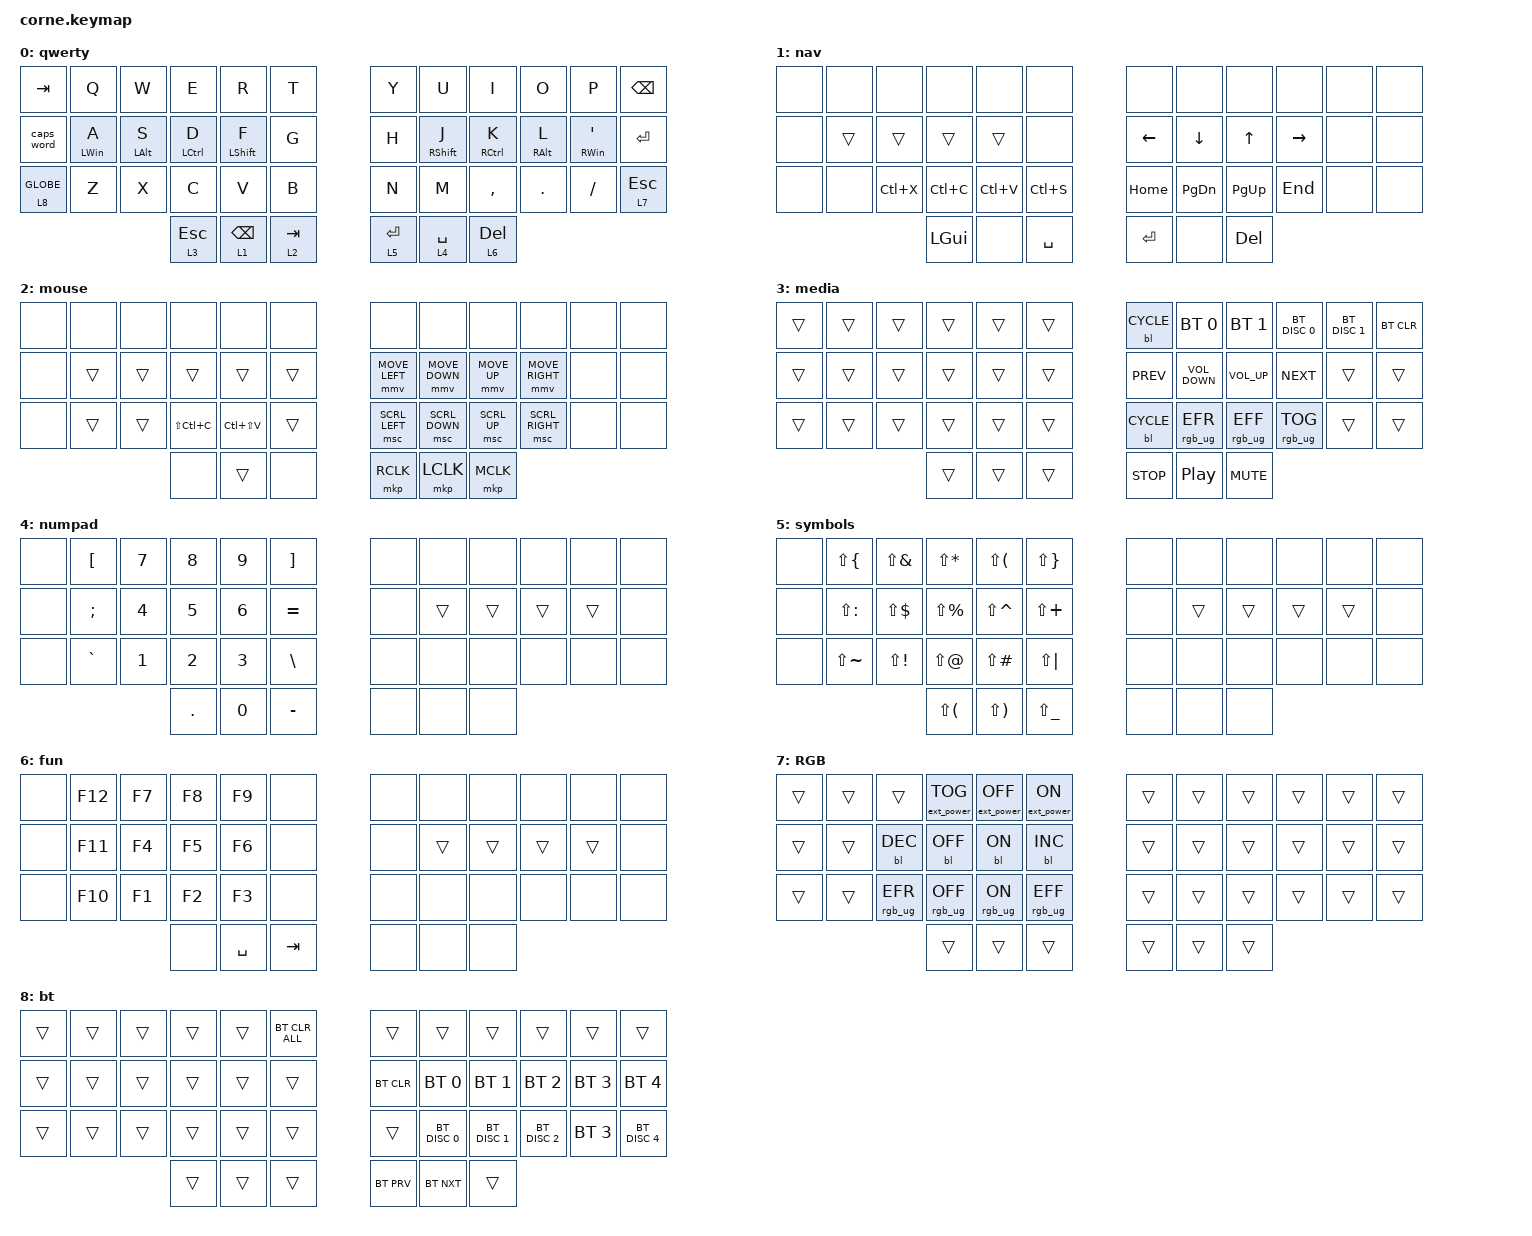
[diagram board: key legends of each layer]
/*
 * Copyright (c) 2020 The ZMK Contributors
 *
 * SPDX-License-Identifier: MIT
 */

#include <behaviors.dtsi>
#include <dt-bindings/zmk/backlight.h>
#include <dt-bindings/zmk/bt.h>
#include <dt-bindings/zmk/ext_power.h>
#include <dt-bindings/zmk/keys.h>
#include <dt-bindings/zmk/pointing.h>
#include <dt-bindings/zmk/rgb.h>

&mt {
    tapping-term-ms = <250>;
    flavor = "tap-preferred";
};

/ {
    keymap {
        compatible = "zmk,keymap";

        qwerty {
            display-name = "qwerty";

            // -----------------------------------------------------------------------------------------
            // |  TAB |  Q  |  W  |  E  |  R  |  T  |   |  Y  |  U   |  I  |  O  |  P  | BSPC |
            // | CTRL |  A  |  S  |  D  |  F  |  G  |   |  H  |  J   |  K  |  L  |  ;  |  '   |
            // | SHFT |  Z  |  X  |  C  |  V  |  B  |   |  N  |  M   |  ,  |  .  |  /  | ESC  |
            //                    | GUI | LWR | SPC |   | ENT | RSE  | ALT |

            bindings = <
&kp TAB      &kp Q           &kp W           &kp E        &kp R             &kp T        &kp Y        &kp U              &kp I         &kp O            &kp P              &kp BSPC
&caps_word   &mt LEFT_WIN A  &mt LEFT_ALT S  &mt LCTRL D  &mt LEFT_SHIFT F  &kp G        &kp H        &mt RIGHT_SHIFT J  &mt RCTRL K   &mt RIGHT_ALT L  &mt RIGHT_WIN SQT  &kp ENTER
&lt 8 GLOBE  &kp Z           &kp X           &kp C        &kp V             &kp B        &kp N        &kp M              &kp COMMA     &kp DOT          &kp FSLH           &lt 7 ESC
                                             &lt 3 ESC    &lt 1 BACKSPACE   &lt 2 TAB    &lt 5 ENTER  &lt 4 SPACE        &lt 6 DELETE
            >;
        };

        nav {
            display-name = "nav";

            // -----------------------------------------------------------------------------------------
            // |  TAB |  1  |  2  |  3  |  4  |  5  |   |  6  |  7  |  8  |  9  |  0  | BSPC |
            // | BTCLR| BT1 | BT2 | BT3 | BT4 | BT5 |   | LFT | DWN |  UP | RGT |     |      |
            // | SHFT |     |     |     |     |     |   |     |     |     |     |     |      |
            //                    | GUI |     | SPC |   | ENT |     | ALT |

            bindings = <
&none  &none   &none      &none      &none      &none        &none     &none          &none       &none      &none  &none
&none  &trans  &trans     &trans     &trans     &none        &kp LEFT  &kp DOWN       &kp UP      &kp RIGHT  &none  &none
&none  &none   &kp LC(X)  &kp LC(C)  &kp LC(V)  &kp LC(S)    &kp HOME  &kp PAGE_DOWN  &kp PG_UP   &kp END    &none  &none
                          &kp LGUI   &none      &kp SPACE    &kp RET   &none          &kp DELETE
            >;
        };

        mouse {
            display-name = "mouse";

            // -----------------------------------------------------------------------------------------
            // |  TAB |  !  |  @  |  #  |  $  |  %  |   |  ^  |  &  |  *  |  (  |  )  | BSPC |
            // | CTRL |     |     |     |     |     |   |  -  |  =  |  [  |  ]  |  \  |  `   |
            // | SHFT |     |     |     |     |     |   |  _  |  +  |  {  |  }  | "|" |  ~   |
            //                    | GUI |     | SPC |   | ENT |     | ALT |

            bindings = <
&none  &none   &none   &none          &none          &none     &none           &none           &none         &none            &none  &none
&none  &trans  &trans  &trans         &trans         &trans    &mmv MOVE_LEFT  &mmv MOVE_DOWN  &mmv MOVE_UP  &mmv MOVE_RIGHT  &none  &none
&none  &trans  &trans  &kp LS(LC(C))  &kp LC(LS(V))  &trans    &msc SCRL_LEFT  &msc SCRL_DOWN  &msc SCRL_UP  &msc SCRL_RIGHT  &none  &none
                       &none          &trans         &none     &mkp RCLK       &mkp LCLK       &mkp MCLK
            >;
        };

        media {
            display-name = "media";
            bindings = <
&trans  &trans  &trans  &trans  &trans  &trans    &bl BL_CYCLE  &bt BT_SEL 0       &bt BT_SEL 1     &bt BT_DISC 0    &bt BT_DISC 1  &bt BT_CLR
&trans  &trans  &trans  &trans  &trans  &trans    &kp K_PREV    &kp K_VOLUME_DOWN  &kp K_VOLUME_UP  &kp K_NEXT       &trans         &trans
&trans  &trans  &trans  &trans  &trans  &trans    &bl BL_CYCLE  &rgb_ug RGB_EFR    &rgb_ug RGB_EFF  &rgb_ug RGB_TOG  &trans         &trans
                        &trans  &trans  &trans    &kp C_STOP    &kp C_PLAY_PAUSE   &kp K_MUTE
            >;
        };

        num {
            display-name = "numpad";
            bindings = <
&none  &kp LBKT   &kp N7  &kp N8   &kp N9  &kp RBKT     &none  &none   &none   &none   &none   &none
&none  &kp SEMI   &kp N4  &kp N5   &kp N6  &kp EQUAL    &none  &trans  &trans  &trans  &trans  &none
&none  &kp GRAVE  &kp N1  &kp N2   &kp N3  &kp BSLH     &none  &none   &none   &none   &none   &none
                          &kp DOT  &kp N0  &kp MINUS    &none  &none   &none
            >;
        };

        sym {
            display-name = "symbols";
            bindings = <
&none  &kp LS(LBRC)   &kp LS(AMPS)  &kp LS(STAR)   &kp LS(LPAR)   &kp LS(RBRC)     &none  &none   &none   &none   &none   &none
&none  &kp LS(COLON)  &kp LS(DLLR)  &kp LS(PRCNT)  &kp LS(CARET)  &kp LS(PLUS)     &none  &trans  &trans  &trans  &trans  &none
&none  &kp LS(TILDE)  &kp LS(EXCL)  &kp LS(AT)     &kp LS(POUND)  &kp LS(PIPE)     &none  &none   &none   &none   &none   &none
                                    &kp LS(LPAR)   &kp LS(RPAR)   &kp LS(UNDER)    &none  &none   &none
            >;
        };

        fun {
            display-name = "fun";
            bindings = <
&none  &kp F12  &kp F7  &kp F8  &kp F9     &none      &none  &none   &none   &none   &none   &none
&none  &kp F11  &kp F4  &kp F5  &kp F6     &none      &none  &trans  &trans  &trans  &trans  &none
&none  &kp F10  &kp F1  &kp F2  &kp F3     &none      &none  &none   &none   &none   &none   &none
                        &none   &kp SPACE  &kp TAB    &none  &none   &none
            >;
        };

        rgb {
            display-name = "RGB";
            bindings = <
&trans  &trans  &trans           &ext_power EP_TOG  &ext_power EP_OFF  &ext_power EP_ON    &trans  &trans  &trans  &trans  &trans  &trans
&trans  &trans  &bl BL_DEC       &bl BL_OFF         &bl BL_ON          &bl BL_INC          &trans  &trans  &trans  &trans  &trans  &trans
&trans  &trans  &rgb_ug RGB_EFR  &rgb_ug RGB_OFF    &rgb_ug RGB_ON     &rgb_ug RGB_EFF     &trans  &trans  &trans  &trans  &trans  &trans
                                 &trans             &trans             &trans              &trans  &trans  &trans
            >;
        };

        bt {
            bindings = <
&trans  &trans  &trans  &trans  &trans  &bt BT_CLR_ALL    &trans      &trans         &trans         &trans         &trans        &trans
&trans  &trans  &trans  &trans  &trans  &trans            &bt BT_CLR  &bt BT_SEL 0   &bt BT_SEL 1   &bt BT_SEL 2   &bt BT_SEL 3  &bt BT_SEL 4
&trans  &trans  &trans  &trans  &trans  &trans            &trans      &bt BT_DISC 0  &bt BT_DISC 1  &bt BT_DISC 2  &bt BT_SEL 3  &bt BT_DISC 4
                        &trans  &trans  &trans            &bt BT_PRV  &bt BT_NXT     &trans
            >;
        };
    };
};
